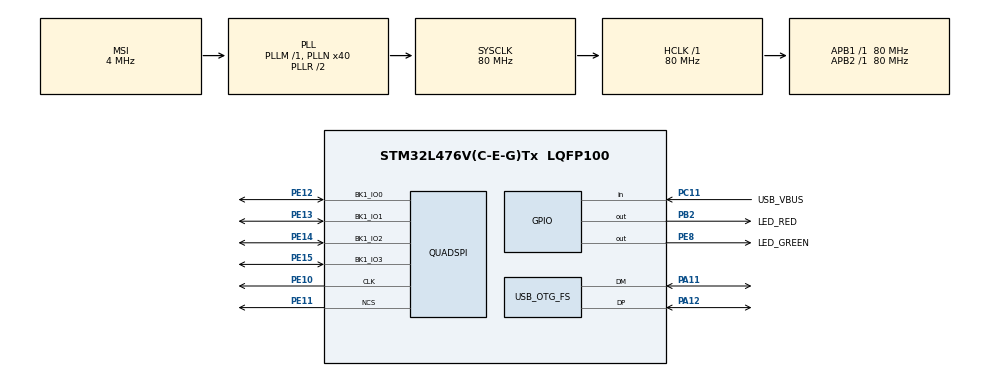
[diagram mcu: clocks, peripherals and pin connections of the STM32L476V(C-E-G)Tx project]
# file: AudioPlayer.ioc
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FREERTOS.Tasks01=appTask,0,4096,appTaskBody;usbTask,2,256,usbTaskBody
FREERTOS.configGENERATE_RUN_TIME_STATS=0
FREERTOS.configTOTAL_HEAP_SIZE=32768
FREERTOS.configUSE_PORT_OPTIMISED_TASK_SELECTION=0
FREERTOS.configUSE_RECURSIVE_MUTEXES=1
Mcu.Family=STM32L4
Mcu.Name=STM32L476V(C-E-G)Tx
Mcu.Package=LQFP100
NVIC.OTG_FS_IRQn=true\:5\:0\:false\:false\:true\:true
NVIC.PriorityGroup=NVIC_PRIORITYGROUP_4
PA11.Mode=Device_Only
PA11.Signal=USB_OTG_FS_DM
PA12.Mode=Device_Only
PA12.Signal=USB_OTG_FS_DP
PA13.Mode=Serial_Wire
PA13.Signal=SYS_JTMS-SWDIO
PA14.Mode=Serial_Wire
PA14.Signal=SYS_JTCK-SWCLK
PB2.GPIO_Label=LED_RED
PB2.Signal=GPIO_Output
PC11.GPIO_Label=USB_VBUS
PC11.Signal=GPIO_Input
PC14/OSC32_IN.Mode=LSE-External-Oscillator
PC14/OSC32_IN.Signal=RCC_OSC32_IN
PC15/OSC32_OUT.Mode=LSE-External-Oscillator
PC15/OSC32_OUT.Signal=RCC_OSC32_OUT
PE10.Mode=Single Bank
PE10.Signal=QUADSPI_CLK
PE11.Mode=Single Bank
PE11.Signal=QUADSPI_NCS
PE12.Mode=Single Bank
PE12.Signal=QUADSPI_BK1_IO0
PE13.Mode=Single Bank
PE13.Signal=QUADSPI_BK1_IO1
PE14.Mode=Single Bank
PE14.Signal=QUADSPI_BK1_IO2
PE15.Mode=Single Bank
PE15.Signal=QUADSPI_BK1_IO3
PE8.GPIO_Label=LED_GREEN
PE8.Signal=GPIO_Output
ProjectManager.HeapSize=0x200
ProjectManager.StackSize=0x400
ProjectManager.TargetToolchain=EWARM
QUADSPI.ClockPrescaler-Single\ Bank=0
QUADSPI.FifoThreshold-Single\ Bank=4
QUADSPI.FlashSize-Single\ Bank=0x17
RCC.ADCFreq_Value=96000000
RCC.AHBFreq_Value=80000000
RCC.APB1Freq_Value=80000000
RCC.APB1TimFreq_Value=80000000
RCC.APB2Freq_Value=80000000
RCC.APB2TimFreq_Value=80000000
RCC.CortexFreq_Value=80000000
RCC.HCLKFreq_Value=80000000
RCC.HSE_VALUE=8000000
RCC.HSI_VALUE=16000000
RCC.MSI_VALUE=4000000
RCC.PLLN=40
RCC.PLLSAI1N=48
RCC.PLLSAI1Q=RCC_PLLQ_DIV4
RCC.PREFETCH_ENABLE=0
RCC.SYSCLKFreq_VALUE=80000000
RCC.SYSCLKSource=RCC_SYSCLKSOURCE_PLLCLK
RCC.USBFreq_Value=48000000
RCC.VCOOutputFreq_Value=160000000
USB_DEVICE.CLASS_NAME_FS=MSC
USB_DEVICE.MSC_MEDIA_PACKET=4096
USB_DEVICE.USBD_HandleTypeDef=hUsbDeviceFS
USB_DEVICE.USBD_LPM_ENABLED=0
USB_DEVICE.USBD_SELF_POWERED=1
USB_DEVICE.VirtualMode=Msc
USB_DEVICE.VirtualModeFS=Msc_FS
USB_OTG_FS.VirtualMode=Device_Only
USB_OTG_FS.vbus_sensing_enable=DISABLE
VP_FREERTOS_VS_ENABLE.Mode=Enabled
VP_USB_DEVICE_VS_USB_DEVICE_MSC_FS.Mode=MSC_FS
board=STM32L476G-DISCO

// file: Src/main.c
/**
  ******************************************************************************
  * File Name          : main.c
  * Description        : Main program body
  ******************************************************************************
  *
  * Copyright (c) 2017 STMicroelectronics International N.V.
  * All rights reserved.
  *
  * Redistribution and use in source and binary forms, with or without
  * modification, are permitted, provided that the following conditions are met:
  *
  * 1. Redistribution of source code must retain the above copyright notice,
  *    this list of conditions and the following disclaimer.
  * 2. Redistributions in binary form must reproduce the above copyright notice,
  *    this list of conditions and the following disclaimer in the documentation
  *    and/or other materials provided with the distribution.
  * 3. Neither the name of STMicroelectronics nor the names of other
  *    contributors to this software may be used to endorse or promote products
  *    derived from this software without specific written permission.
  * 4. This software, including modifications and/or derivative works of this
  *    software, must execute solely and exclusively on microcontroller or
  *    microprocessor devices manufactured by or for STMicroelectronics.
  * 5. Redistribution and use of this software other than as permitted under
  *    this license is void and will automatically terminate your rights under
  *    this license.
  *
  * THIS SOFTWARE IS PROVIDED BY STMICROELECTRONICS AND CONTRIBUTORS "AS IS"
  * AND ANY EXPRESS, IMPLIED OR STATUTORY WARRANTIES, INCLUDING, BUT NOT
  * LIMITED TO, THE IMPLIED WARRANTIES OF MERCHANTABILITY, FITNESS FOR A
  * PARTICULAR PURPOSE AND NON-INFRINGEMENT OF THIRD PARTY INTELLECTUAL PROPERTY
  * RIGHTS ARE DISCLAIMED TO THE FULLEST EXTENT PERMITTED BY LAW. IN NO EVENT
  * SHALL STMICROELECTRONICS OR CONTRIBUTORS BE LIABLE FOR ANY DIRECT, INDIRECT,
  * INCIDENTAL, SPECIAL, EXEMPLARY, OR CONSEQUENTIAL DAMAGES (INCLUDING, BUT NOT
  * LIMITED TO, PROCUREMENT OF SUBSTITUTE GOODS OR SERVICES; LOSS OF USE, DATA,
  * OR PROFITS; OR BUSINESS INTERRUPTION) HOWEVER CAUSED AND ON ANY THEORY OF
  * LIABILITY, WHETHER IN CONTRACT, STRICT LIABILITY, OR TORT (INCLUDING
  * NEGLIGENCE OR OTHERWISE) ARISING IN ANY WAY OUT OF THE USE OF THIS SOFTWARE,
  * EVEN IF ADVISED OF THE POSSIBILITY OF SUCH DAMAGE.
  *
  ******************************************************************************
  */
#include "main.h"
#include "stm32l4xx_hal.h"
#include "cmsis_os.h"
#include "quadspi.h"
#include "usb_device.h"
#include "gpio.h"

/* USER CODE BEGIN PV */
/* Private variables ---------------------------------------------------------*/

/* USER CODE END PV */

void SystemClock_Config(void);
void Error_Handler(void);
void MX_FREERTOS_Init(void);

/* USER CODE BEGIN PFP */
/* Private function prototypes -----------------------------------------------*/

/* USER CODE END PFP */

int main(void)
{

  /* MCU Configuration----------------------------------------------------------*/

  /* Reset of all peripherals, Initializes the Flash interface and the Systick. */
  HAL_Init();

  /* Configure the system clock */
  SystemClock_Config();

  /* Initialize all configured peripherals */
  MX_GPIO_Init();
  MX_QUADSPI_Init();

  /* Call init function for freertos objects (in freertos.c) */
  MX_FREERTOS_Init();

  /* Start scheduler */
  osKernelStart();

  /* We should never get here as control is now taken by the scheduler */

  /* Infinite loop */
  while (1)
  {

  }

}

/** System Clock Configuration
*/
void SystemClock_Config(void)
{

  RCC_OscInitTypeDef RCC_OscInitStruct;
  RCC_ClkInitTypeDef RCC_ClkInitStruct;
  RCC_PeriphCLKInitTypeDef PeriphClkInit;

    /**Initializes the CPU, AHB and APB busses clocks
    */
  RCC_OscInitStruct.OscillatorType = RCC_OSCILLATORTYPE_LSE|RCC_OSCILLATORTYPE_MSI;
  RCC_OscInitStruct.LSEState = RCC_LSE_ON;
  RCC_OscInitStruct.MSIState = RCC_MSI_ON;
  RCC_OscInitStruct.MSICalibrationValue = 0;
  RCC_OscInitStruct.MSIClockRange = RCC_MSIRANGE_6;
  RCC_OscInitStruct.PLL.PLLState = RCC_PLL_ON;
  RCC_OscInitStruct.PLL.PLLSource = RCC_PLLSOURCE_MSI;
  RCC_OscInitStruct.PLL.PLLM = 1;
  RCC_OscInitStruct.PLL.PLLN = 40;
  RCC_OscInitStruct.PLL.PLLP = RCC_PLLP_DIV7;
  RCC_OscInitStruct.PLL.PLLQ = RCC_PLLQ_DIV2;
  RCC_OscInitStruct.PLL.PLLR = RCC_PLLR_DIV2;
  if (HAL_RCC_OscConfig(&RCC_OscInitStruct) != HAL_OK)
  {
    Error_Handler();
  }

    /**Initializes the CPU, AHB and APB busses clocks
    */
  RCC_ClkInitStruct.ClockType = RCC_CLOCKTYPE_HCLK|RCC_CLOCKTYPE_SYSCLK
                              |RCC_CLOCKTYPE_PCLK1|RCC_CLOCKTYPE_PCLK2;
  RCC_ClkInitStruct.SYSCLKSource = RCC_SYSCLKSOURCE_PLLCLK;
  RCC_ClkInitStruct.AHBCLKDivider = RCC_SYSCLK_DIV1;
  RCC_ClkInitStruct.APB1CLKDivider = RCC_HCLK_DIV1;
  RCC_ClkInitStruct.APB2CLKDivider = RCC_HCLK_DIV1;

  if (HAL_RCC_ClockConfig(&RCC_ClkInitStruct, FLASH_LATENCY_4) != HAL_OK)
  {
    Error_Handler();
  }

  PeriphClkInit.PeriphClockSelection = RCC_PERIPHCLK_USB;
  PeriphClkInit.UsbClockSelection = RCC_USBCLKSOURCE_PLLSAI1;
  PeriphClkInit.PLLSAI1.PLLSAI1Source = RCC_PLLSOURCE_MSI;
  PeriphClkInit.PLLSAI1.PLLSAI1M = 1;
  PeriphClkInit.PLLSAI1.PLLSAI1N = 48;
  PeriphClkInit.PLLSAI1.PLLSAI1P = RCC_PLLP_DIV7;
  PeriphClkInit.PLLSAI1.PLLSAI1Q = RCC_PLLQ_DIV4;
  PeriphClkInit.PLLSAI1.PLLSAI1R = RCC_PLLR_DIV2;
  PeriphClkInit.PLLSAI1.PLLSAI1ClockOut = RCC_PLLSAI1_48M2CLK;
  if (HAL_RCCEx_PeriphCLKConfig(&PeriphClkInit) != HAL_OK)
  {
    Error_Handler();
  }

    /**Configure LSE Drive Capability
    */
  __HAL_RCC_LSEDRIVE_CONFIG(RCC_LSEDRIVE_LOW);

    /**Configure the main internal regulator output voltage
    */
  if (HAL_PWREx_ControlVoltageScaling(PWR_REGULATOR_VOLTAGE_SCALE1) != HAL_OK)
  {
    Error_Handler();
  }

    /**Configure the Systick interrupt time
    */
  HAL_SYSTICK_Config(HAL_RCC_GetHCLKFreq()/1000);

    /**Configure the Systick
    */
  HAL_SYSTICK_CLKSourceConfig(SYSTICK_CLKSOURCE_HCLK);

    /**Enable MSI Auto calibration
    */
  HAL_RCCEx_EnableMSIPLLMode();

  /* SysTick_IRQn interrupt configuration */
  HAL_NVIC_SetPriority(SysTick_IRQn, 15, 0);
}

void Error_Handler(void)
{
  while(1)
  {
  }
}

/************************ (C) COPYRIGHT STMicroelectronics *****END OF FILE****/

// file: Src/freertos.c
/**
  ******************************************************************************
  * File Name          : freertos.c
  * Description        : Code for freertos applications
  ******************************************************************************
  *
  * Copyright (c) 2017 STMicroelectronics International N.V.
  * All rights reserved.
  *
  * Redistribution and use in source and binary forms, with or without
  * modification, are permitted, provided that the following conditions are met:
  *
  * 1. Redistribution of source code must retain the above copyright notice,
  *    this list of conditions and the following disclaimer.
  * 2. Redistributions in binary form must reproduce the above copyright notice,
  *    this list of conditions and the following disclaimer in the documentation
  *    and/or other materials provided with the distribution.
  * 3. Neither the name of STMicroelectronics nor the names of other
  *    contributors to this software may be used to endorse or promote products
  *    derived from this software without specific written permission.
  * 4. This software, including modifications and/or derivative works of this
  *    software, must execute solely and exclusively on microcontroller or
  *    microprocessor devices manufactured by or for STMicroelectronics.
  * 5. Redistribution and use of this software other than as permitted under
  *    this license is void and will automatically terminate your rights under
  *    this license.
  *
  * THIS SOFTWARE IS PROVIDED BY STMICROELECTRONICS AND CONTRIBUTORS "AS IS"
  * AND ANY EXPRESS, IMPLIED OR STATUTORY WARRANTIES, INCLUDING, BUT NOT
  * LIMITED TO, THE IMPLIED WARRANTIES OF MERCHANTABILITY, FITNESS FOR A
  * PARTICULAR PURPOSE AND NON-INFRINGEMENT OF THIRD PARTY INTELLECTUAL PROPERTY
  * RIGHTS ARE DISCLAIMED TO THE FULLEST EXTENT PERMITTED BY LAW. IN NO EVENT
  * SHALL STMICROELECTRONICS OR CONTRIBUTORS BE LIABLE FOR ANY DIRECT, INDIRECT,
  * INCIDENTAL, SPECIAL, EXEMPLARY, OR CONSEQUENTIAL DAMAGES (INCLUDING, BUT NOT
  * LIMITED TO, PROCUREMENT OF SUBSTITUTE GOODS OR SERVICES; LOSS OF USE, DATA,
  * OR PROFITS; OR BUSINESS INTERRUPTION) HOWEVER CAUSED AND ON ANY THEORY OF
  * LIABILITY, WHETHER IN CONTRACT, STRICT LIABILITY, OR TORT (INCLUDING
  * NEGLIGENCE OR OTHERWISE) ARISING IN ANY WAY OUT OF THE USE OF THIS SOFTWARE,
  * EVEN IF ADVISED OF THE POSSIBILITY OF SUCH DAMAGE.
  *
  ******************************************************************************
  */

#include "FreeRTOS.h"
#include "task.h"
#include "cmsis_os.h"

/* USER CODE BEGIN Includes */

#include "stm32l4xx_hal.h"
//#include "mxconstants.h"
#include "usbd_core.h"
#include "usb_device.h"

/* USER CODE END Includes */

osThreadId appTaskHandle;
osThreadId usbTaskHandle;

void appTaskBody(void const * argument);
void usbTaskBody(void const * argument);

extern void MX_USB_DEVICE_Init(void);
void MX_FREERTOS_Init(void); /* (MISRA C 2004 rule 8.1) */

/* USER CODE BEGIN FunctionPrototypes */

void Error_Handler(void);

/* USER CODE END FunctionPrototypes */

/* Hook prototypes */

/* Init FreeRTOS */

void MX_FREERTOS_Init(void) {

  /* Create the thread(s) */
  /* definition and creation of appTask */
  osThreadDef(appTask, appTaskBody, osPriorityNormal, 0, 4096);
  appTaskHandle = osThreadCreate(osThread(appTask), NULL);

  /* definition and creation of usbTask */
  osThreadDef(usbTask, usbTaskBody, osPriorityHigh, 0, 256);
  usbTaskHandle = osThreadCreate(osThread(usbTask), NULL);

}

/* appTaskBody function */
void appTaskBody(void const * argument)
{
  /* init code for USB_DEVICE */
  MX_USB_DEVICE_Init();

  /* USER CODE BEGIN appTaskBody */
  /* Infinite loop */
  for(;;)
  {
    osDelay(100);

    /* GREEN LED TOGGLE */
    HAL_GPIO_TogglePin(LED_GREEN_GPIO_Port, LED_GREEN_Pin);
  }
  /* USER CODE END appTaskBody */
}

/* usbTaskBody function */
void usbTaskBody(void const * argument)
{
  /* USER CODE BEGIN usbTaskBody */
  uint32_t USB_VBUS_counter = 0;

  /* Infinite loop */
  for(;;)
  {
    USB_VBUS_counter = 0;
    /* USB_VBUS availability check */
    while (USB_VBUS_counter < 5)
    {
      osDelay(10);
      if (HAL_GPIO_ReadPin(USB_VBUS_GPIO_Port, USB_VBUS_Pin) != GPIO_PIN_RESET)
      {
        USB_VBUS_counter++;
      }
      else {
        break;
      }
    }
    if(USB_VBUS_counter >= 5)
    {
      /* Initialize USB peripheral */
      MX_USB_DEVICE_Init();

      /* RED LED ON */
      HAL_GPIO_WritePin(LED_RED_GPIO_Port, LED_RED_Pin, GPIO_PIN_SET);

      /* USB_VBUS availability check */
      while (USB_VBUS_counter)
      {
        /* Wait 100ms, then check the USB_VBUS availability */
        osDelay(100);

        if (HAL_GPIO_ReadPin(USB_VBUS_GPIO_Port, USB_VBUS_Pin) == GPIO_PIN_RESET)
        {
          USB_VBUS_counter--;
        }
        else {
          USB_VBUS_counter = 5;
        }
      }

      /* Deinitialize USB peripheral */
      USBD_DeInit(&hUsbDeviceFS);

      /* RED LED OFF */
      HAL_GPIO_WritePin(LED_RED_GPIO_Port, LED_RED_Pin, GPIO_PIN_RESET);
    }
    /* Every 1s we will check if USB_VBUS is available */
    osDelay(1000);
  }
  /* USER CODE END usbTaskBody */
}

/* USER CODE BEGIN Application */

/**
  * @brief Application Error Handler
  * @param  None
  * @retval None
  */
//void Error_Handler(void)
//{
//  while(1)
//  {
    /* Error management behavior to be added here */
//  }
//}

/* USER CODE END Application */

/************************ (C) COPYRIGHT STMicroelectronics *****END OF FILE****/
